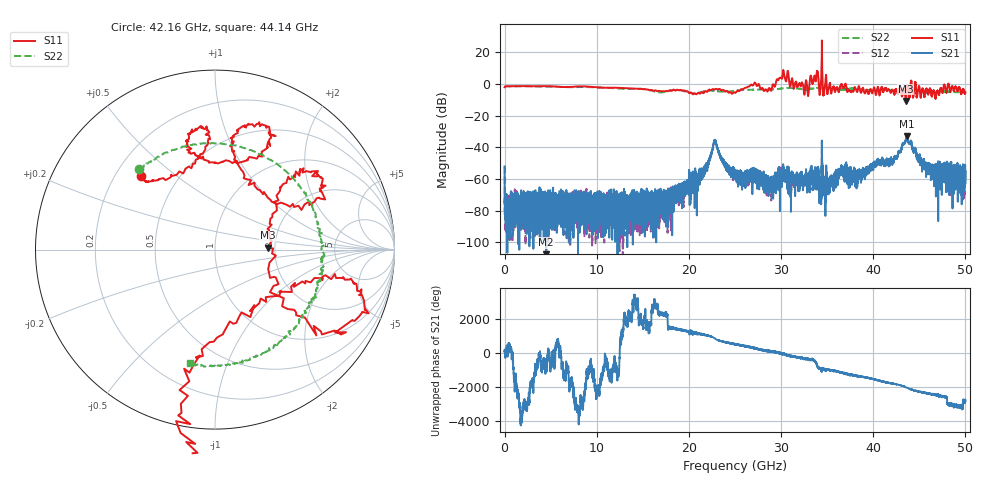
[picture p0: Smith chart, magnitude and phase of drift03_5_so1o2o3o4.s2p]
!Created with skrf (http://scikit-rf.org).
# Hz S RI R 50.0
!freq ReS11 ImS11 ReS21 ImS21 ReS12 ImS12 ReS22 ImS22
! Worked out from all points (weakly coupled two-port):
!   10001 points, 300 kHz to 50 GHz, reference 50 ohm
!   highest |S21| = -33.05 dB at 43.64 GHz (marker M1); lowest = -117.5 dB at 4.52 GHz (marker M2)
!   lowest |S11| = -10.6 dB at 43.53 GHz (marker M3), VSWR 1.83, Z = 91.6 + j1.98 ohm
!   |S11| at or under -10 dB: 43.50965 GHz to 43.5118 GHz (2.156 MHz wide, 0.00496 % of centre); 43.51705 GHz to 43.52336 GHz (6.311 MHz wide, 0.0145 % of centre); 43.54932 GHz to 43.55514 GHz (5.817 MHz wide, 0.0134 % of centre) (the widest 3 of 4)
!   |S22| runs from -5.9 to -1.3 dB; largest |S21 - S12| = 0.0089
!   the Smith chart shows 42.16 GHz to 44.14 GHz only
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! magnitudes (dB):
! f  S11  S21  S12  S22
! 300 kHz  -2.1  -52.0  -52.0  -2.1
! 305.3 MHz  -1.4  -77.8  -75.8  -1.4
! 4.52 GHz  -1.4  -117.5  -95.9  -1.6
! 8.335 GHz  -1.5  -76.0  -84.4  -1.9
! 16.67 GHz  -4.4  -73.0  -73.1  -5.2
! 21.01 GHz  -5.6  -59.0  -57.8  -5.5
! 22.81 GHz  -3.5  -35.5  -35.5  -4.4
! 25 GHz  -5.5  -57.6  -59.7  -4.3
! 27.01 GHz  -0.5  -59.2  -55.8  -3.6
! 28.85 GHz  -3.8  -62.1  -63.1  -3.5
! 30.14 GHz  4.3  -55.8  -54.0  -2.8
! 32.74 GHz  2.1  -61.5  -59.4  -3.3
! 33.34 GHz  2.5  -58.4  -60.0  -2.9
! 33.82 GHz  3.9  -62.3  -59.8  -2.6
! 35.24 GHz  -0.8  -65.7  -63.7  -2.7
! 36.45 GHz  -1.2  -56.8  -55.3  -3.6
! 38.49 GHz  -2.1  -55.9  -55.9  -3.1
! 41.67 GHz  -3.5  -50.0  -50.4  -3.7
! 43.53 GHz  -10.6  -35.6  -35.3  -4.2
! 43.64 GHz  -2.9  -33.0  -33.9  -4.1
! 46.47 GHz  -5.6  -57.0  -56.8  -5.6
! 50 GHz  -5.3  -55.3  -58.0  -5.0
